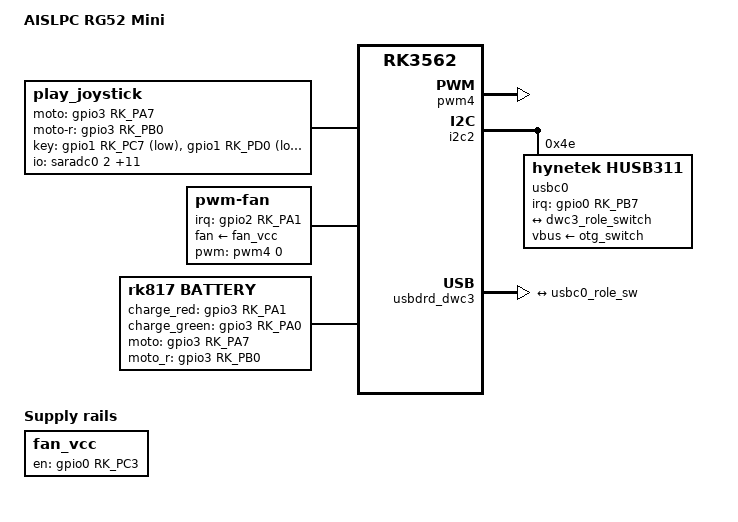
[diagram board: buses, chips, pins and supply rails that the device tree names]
// SPDX-License-Identifier: (GPL-2.0+ OR MIT)
/*
 * Copyright (c) 2024 dArkOS Contributors
 *
 * AISLPC RG52 Mini — RK3562 gaming handheld with portrait 720x1280 DSI panel
 */

/dts-v1/;

#include "dt-bindings/usb/pd.h"
#include "rk3562.dtsi"
#include "rk3562-linux.dtsi"
#include "rk3562-rk817.dtsi"
#include "rk3562-darkos.dtsi"

/ {
	model = "AISLPC RG52 Mini";
	compatible = "aislpc,rg52mini", "rockchip,rk3562";

	play_joystick {
		compatible = "play_joystick";
		io-channels = <&saradc0 2>, <&saradc0 3>,
			      <&saradc0 5>, <&saradc0 6>,
			      <&saradc1 1>, <&saradc1 4>,
			      <&saradc1 0>, <&saradc1 2>,
			      <&saradc1 3>, <&saradc1 5>,
			      <&saradc1 6>, <&saradc1 7>;
		io-channel-names = "button0", "button1",
				   "button2", "button3",
				   "l2-abs", "r2-abs",
				   "left-key", "right-key",
				   "down-key", "b-key",
				   "x-key", "y-key";
		joysticks_numbers = <2>;
		l_x_swap;
		l_y_swap;
		left-stick-invert;
		axis-min-value-mv = <250>;
		axis-max-value-mv = <1550>;
		axis-dead-zone-l = <790>;
		axis-dead-zone-h = <1010>;
		axis-division-value = <60>;
		keyup-threshold-microvolt = <1800000>;
		poll-interval = <16>;
		debounce-interval = <100>;
		pinctrl-names = "default";
		pinctrl-0 = <&gpio_key_pin &moto_gpio>;
		moto-gpio = <&gpio3 RK_PA7 GPIO_ACTIVE_HIGH>;
		moto-r-gpio = <&gpio3 RK_PB0 GPIO_ACTIVE_HIGH>;
		gpio-key-num = <10>;
		key-gpios = <&gpio1 RK_PC7 GPIO_ACTIVE_LOW>,
			    <&gpio1 RK_PD0 GPIO_ACTIVE_LOW>,
			    <&gpio1 RK_PD5 GPIO_ACTIVE_LOW>,
			    <&gpio1 RK_PD6 GPIO_ACTIVE_LOW>,
			    <&gpio1 RK_PD3 GPIO_ACTIVE_LOW>,
			    <&gpio1 RK_PD7 GPIO_ACTIVE_LOW>,
			    <&gpio1 RK_PD4 GPIO_ACTIVE_LOW>,
			    <&gpio2 RK_PA0 GPIO_ACTIVE_LOW>,
			    <&gpio0 RK_PC5 GPIO_ACTIVE_LOW>,
			    <&gpio0 RK_PC6 GPIO_ACTIVE_LOW>;
		key-gpios-map = <0x136 0x220 0x137 0x131
				 0x13a 0x13b 0x66 0x1d0
				 0x13d 0x13e>;
		l2-r2-min-value-mv = <50>;
		l2-r2-max-value-mv = <800>;
		l2-r2-division-value-mv = <75>;
		l2_r2_abs;

		left-key {
			label = "left-key";
			adc-chan = <0>;
			linux,code = <0x222>;
			press-threshold-microvolt = <80000>;
		};

		right-key {
			label = "right-key";
			adc-chan = <2>;
			linux,code = <0x223>;
			press-threshold-microvolt = <80000>;
		};

		down-key {
			label = "down-key";
			adc-chan = <3>;
			linux,code = <0x221>;
			press-threshold-microvolt = <80000>;
		};

		b-key {
			label = "b-key";
			adc-chan = <5>;
			linux,code = <0x130>;
			press-threshold-microvolt = <80000>;
		};

		x-key {
			label = "x-key";
			adc-chan = <6>;
			linux,code = <0x133>;
			press-threshold-microvolt = <80000>;
		};

		y-key {
			label = "y-key";
			adc-chan = <7>;
			linux,code = <0x134>;
			press-threshold-microvolt = <80000>;
		};
	};
};

/* ---- Chassis fan -------------------------------------------------------- */

/ {
	/* Fan motor rail -- GPIO0_C3 high enables. Marked regulator-boot-on so
	 * the rail is powered before pwm-fan probes; without that the fan-supply
	 * is locked off when pwm-fan tries to spin up. */
	fan_vcc: fan-vcc {
		compatible = "regulator-fixed";
		regulator-name = "fan-vcc";
		pinctrl-names = "default";
		pinctrl-0 = <&fan_vcc_en_gpio>;
		gpios = <&gpio0 RK_PC3 GPIO_ACTIVE_HIGH>;
		enable-active-high;
		regulator-boot-on;
	};

	/* pwm-fan consumer -- PWM4 channel 0 drives speed; GPIO2_A1 falling
	 * edges are tach pulses; rockchip,temp-trips is a BSP extension that
	 * lets the driver self-manage temp->speed instead of relying on the
	 * thermal-zone cooling-map (CONFIG_ROCKCHIP_SYSTEM_MONITOR path). */
	pwm-fan {
		status = "okay";
		compatible = "pwm-fan";
		#cooling-cells = <2>;
		fan-supply = <&fan_vcc>;
		pinctrl-names = "default";
		pinctrl-0 = <&fan_det_gpio>;
		interrupt-parent = <&gpio2>;
		interrupts = <RK_PA1 IRQ_TYPE_EDGE_FALLING>;
		pwms = <&pwm4 0 50000 0>;
		cooling-levels = <0 50 100 150 200 255>;
		rockchip,temp-trips = <50000 1
				       55000 2
				       60000 3
				       65000 4
				       70000 5>;
	};
};

/* Activate PWM4 channel 0 on the pwm4_m1 route (GPIO1_D1, mux 4) so the
 * pwm-fan consumer above can drive the motor. RG52 Mini-only -- the shared
 * darkos.dtsi leaves &pwm4 disabled. */
&pwm4 {
	pinctrl-names = "active";
	pinctrl-0 = <&pwm4m1_pins>;
	status = "okay";
};

/* ---- Per-device overrides ------------------------------------------------ */

/* LCD voltage regulator — GPIO0_B0 active-low enable */
&vcc3v3_lcd_n {
	gpios = <&gpio0 RK_PB0 GPIO_ACTIVE_LOW>;
	enable-active-low;
	pinctrl-names = "default";
	pinctrl-0 = <&lcd_pwren_h>;
	status = "okay";
};

/* DSI panel — 720x1280 portrait init sequence */
&dsi_panel {
	pinctrl-names = "default";
	pinctrl-0 = <&lcd_rst_gpio>;
	power-supply = <&vcc3v3_lcd_n>;
	rotation = <90>;

	panel-init-sequence = [
		15 00 03 e0 ab ba
		15 00 03 e1 ba ab
		39 00 05 b1 10 01 47 ff
		39 00 07 b2 0a 09 04 50 50 14
		39 00 04 b3 56 52 00
		39 00 04 b4 33 60 04
		39 00 08 b6 b0 00 00 10 00 10 00
		39 00 06 b8 05 12 29 49 48
		39 00 27 b9 7c 70 65 5b 5b 4e 54 3d 56 53 52 6e
		              5a 60 4f 4b 3a 29 06 7c 6f 65 5b 5b
		              4e 54 3d 56 53 52 6e 5a 60 4f 4b 3a
		              29 06
		39 00 11 c0 54 32 23 45 44 44 44 44 40 04 40 04
		              0f 00 00 c1
		39 00 0b c1 33 94 02 87 80 04 92 04 54 00
		39 00 0d c2 73 09 08 89 08 11 22 20 44 bb 18 00
		39 00 17 c3 82 4a 08 23 00 04 06 01 0c 0e 10 12
		              02 02 02 02 02 02 02 02 02 02
		39 00 17 c4 02 0b 09 23 00 05 07 01 0d 0f 11 13
		              02 02 02 02 02 02 02 02 02 02
		39 00 04 c5 83 94 0f
		15 00 03 c6 4c 4c
		39 00 07 c8 11 00 31 42 34 16
		15 00 03 ca cb 43
		39 00 09 cd 0e 64 64 20 14 6b 06 b3
		39 00 05 d2 e3 2b 38 08
		39 00 0c d4 00 01 00 0e 04 44 08 10 00 00 00
		39 00 09 e6 80 01 ff ff ff ff ff ff
		39 00 06 f0 12 03 20 00 ff
		15 00 02 f3 00
		05 78 01 11
		05 1e 01 29
	];
};

/* RK817 codec — RG52 Mini uses higher headphone volume */
&rk817_codec {
	hp-volume = <54>;
};

/* RK817 PMIC — battery and charger parameters */
&rk817 {
	battery {
		compatible = "rk817,battery";
		ocv_table = <3500 3528 3565 3597 3626 3654 3689 3733
			     3776 3812 3845 3876 3910 3952 3990 4015
			     4034 4069 4090 4113 4173>;
		design_capacity = <4654>;
		design_qmax = <5119>;
		bat_res = <78>;
		sleep_enter_current = <300>;
		sleep_exit_current = <300>;
		sleep_filter_current = <100>;
		power_off_thresd = <2800>;
		zero_algorithm_vol = <3850>;
		max_soc_offset = <60>;
		monitor_sec = <5>;
		sample_res = <10>;
		virtual_power = <0>;
		pinctrl-names = "default";
		pinctrl-0 = <&charge_led_gpio>;
		charge_red_gpio = <&gpio3 RK_PA1 GPIO_ACTIVE_HIGH>;
		charge_green_gpio = <&gpio3 RK_PA0 GPIO_ACTIVE_HIGH>;
		moto_gpio = <&gpio3 RK_PA7 GPIO_ACTIVE_HIGH>;
		moto_r_gpio = <&gpio3 RK_PB0 GPIO_ACTIVE_HIGH>;
	};

	charger {
		compatible = "rk817,charger";
		min_input_voltage = <4500>;
		max_input_current = <3000>;
		max_chrg_current = <2000>;
		max_chrg_voltage = <4300>;
		chrg_term_mode = <0>;
		chrg_finish_cur = <300>;
		virtual_power = <0>;
		dc_det_adc = <0>;
		otg5v_suspend_enable = <1>;
		extcon = <&usbc0>;
		gate_function_disable = <1>;
	};
};

/* ---- USB Type-C (HUSB311 on I2C2) ---------------------------------------- */

&i2c2 {
	status = "okay";

	usbc0: husb311@4e {
		compatible = "hynetek,husb311";
		reg = <0x4e>;
		interrupt-parent = <&gpio0>;
		interrupts = <RK_PB7 IRQ_TYPE_LEVEL_LOW>;
		pinctrl-names = "default";
		pinctrl-0 = <&usbc0_int>;
		vbus-supply = <&otg_switch>;
		status = "okay";

		ports {
			#address-cells = <1>;
			#size-cells = <0>;

			port@0 {
				reg = <0>;
				usbc0_role_sw: endpoint@0 {
					remote-endpoint = <&dwc3_role_switch>;
				};
			};
		};

		usb_con: connector {
			compatible = "usb-c-connector";
			label = "USB-C";
			data-role = "dual";
			power-role = "dual";
			try-power-role = "sink";
			op-sink-microwatt = <1000000>;
			sink-pdos =
				<PDO_FIXED(5000, 1000, PDO_FIXED_USB_COMM)>;
			source-pdos =
				<PDO_FIXED(5000, 3000, PDO_FIXED_USB_COMM)>;
		};
	};
};

&usbdrd_dwc3 {
	/delete-property/ extcon;
	usb-role-switch;

	port {
		#address-cells = <1>;
		#size-cells = <0>;
		dwc3_role_switch: endpoint@0 {
			reg = <0>;
			remote-endpoint = <&usbc0_role_sw>;
		};
	};
};

&u2phy_otg {
	rockchip,vbus-always-on;
};

/* ---- Per-device pinctrl additions ---------------------------------------- */

&pinctrl {
	usb-typec {
		usbc0_int: usbc0-int {
			rockchip,pins = <0 RK_PB7 RK_FUNC_GPIO &pcfg_pull_up>;
		};
	};

	vcc3v3_lcd_n {
		lcd_pwren_h: lcd-pwren-h {
			rockchip,pins = <0 RK_PB0 RK_FUNC_GPIO &pcfg_pull_up>;
		};
	};
};
